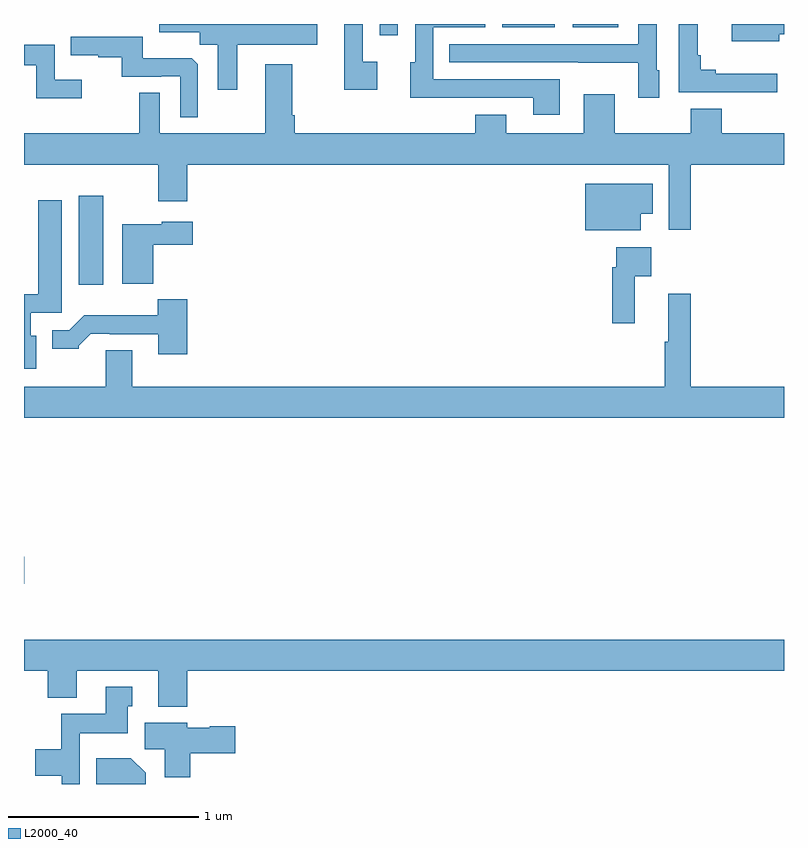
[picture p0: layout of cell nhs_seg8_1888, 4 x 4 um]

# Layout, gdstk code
import gdstk
lib = gdstk.Library(unit=1e-6, precision=1e-09)
def R(c, l, rs):  # rectangles x0, y0, x1, y1
    for r in rs: c.add(gdstk.rectangle(r[:2], r[2:], *l))
def P(c, l, *ps):  # polygons
    for p in ps: c.add(gdstk.Polygon(p, *l))
L2000_40 = (2000, 40)

nhs_seg8_1888 = lib.new_cell('nhs_seg8_1888')
R(nhs_seg8_1888, L2000_40, [(231,1120.954,231.001,1121.096), (231.287,1122.528,231.418,1122.997), (232.872,1123.842,232.968,1123.9), (233.516,1123.883,233.794,1123.9), (233.888,1123.883,234.127,1123.9)])
P(nhs_seg8_1888, L2000_40, [(234.976,1123.847),(235,1123.847),(235,1123.9),(234.725,1123.9),(234.725,1123.808),(234.976,1123.808)],
  [(234.343,1123.656),(234.33,1123.656),(234.33,1123.9),(234.234,1123.9),(234.234,1123.794),(233.239,1123.794),(233.239,1123.698),(233.917,1123.698),(233.917,1123.697),(234.234,1123.697),(234.234,1123.512),(234.343,1123.512)],
  [(234.964,1123.639),(234.64,1123.639),(234.64,1123.658),(234.563,1123.658),(234.563,1123.735),(234.545,1123.735),(234.545,1123.9),(234.447,1123.9),(234.447,1123.542),(234.964,1123.542)],
  [(232.123,1123.79),(232.543,1123.79),(232.543,1123.9),(231.713,1123.9),(231.713,1123.856),(231.924,1123.856),(231.924,1123.792),(232.019,1123.792),(232.019,1123.554),(232.123,1123.554)],
  [(233.821,1123.608),(233.154,1123.608),(233.154,1123.884),(233.427,1123.884),(233.427,1123.9),(233.058,1123.9),(233.058,1123.698),(233.033,1123.698),(233.033,1123.511),(233.251,1123.511),(233.251,1123.512),(233.681,1123.512),(233.681,1123.422),(233.821,1123.422)],
  [(232.858,1123.702),(232.782,1123.702),(232.782,1123.9),(232.685,1123.9),(232.685,1123.554),(232.858,1123.554)],
  [(231.915,1123.689),(231.883,1123.721),(231.625,1123.721),(231.625,1123.833),(231.247,1123.833),(231.247,1123.736),(231.391,1123.736),(231.391,1123.725),(231.515,1123.725),(231.515,1123.623),(231.722,1123.623),(231.722,1123.626),(231.822,1123.626),(231.822,1123.409),(231.915,1123.409)],
  [(231.304,1123.606),(231.162,1123.606),(231.162,1123.791),(231,1123.791),(231,1123.683),(231.064,1123.683),(231.064,1123.508),(231.304,1123.508)],
  [(234.509,1123.16),(235,1123.16),(235,1123.324),(234.673,1123.324),(234.673,1123.453),(234.509,1123.453),(234.509,1123.324),(234.109,1123.324),(234.109,1123.531),(233.945,1123.531),(233.945,1123.324),(233.539,1123.324),(233.539,1123.423),(233.375,1123.423),(233.375,1123.324),(232.424,1123.324),(232.424,1123.42),(232.411,1123.42),(232.411,1123.687),(232.271,1123.687),(232.271,1123.324),(231.714,1123.324),(231.714,1123.538),(231.606,1123.538),(231.606,1123.324),(231,1123.324),(231,1123.16),(231.707,1123.16),(231.707,1122.966),(231.86,1122.966),(231.86,1123.16),(234.393,1123.16),(234.393,1122.816),(234.509,1122.816)],
  [(234.247,1122.902),(234.308,1122.902),(234.308,1123.06),(233.954,1123.06),(233.954,1122.815),(234.247,1122.815)],
  [(231.064,1122.258),(231.036,1122.258),(231.036,1122.381),(231.199,1122.381),(231.199,1122.973),(231.074,1122.973),(231.074,1122.478),(231,1122.478),(231,1122.086),(231.064,1122.086)],
  [(231.68,1122.737),(231.889,1122.737),(231.889,1122.859),(231.726,1122.859),(231.726,1122.847),(231.518,1122.847),(231.518,1122.533),(231.68,1122.533)],
  [(234.215,1122.572),(234.301,1122.572),(234.301,1122.724),(234.117,1122.724),(234.117,1122.62),(234.097,1122.62),(234.097,1122.324),(234.215,1122.324)],
  [(235,1121.992),(234.509,1121.992),(234.509,1122.481),(234.392,1122.481),(234.392,1122.228),(234.373,1122.228),(234.373,1121.992),(231.571,1121.992),(231.571,1122.182),(231.431,1122.182),(231.431,1121.992),(231,1121.992),(231,1121.828),(235,1121.828)],
  [(231.86,1122.451),(231.705,1122.451),(231.705,1122.367),(231.316,1122.367),(231.237,1122.288),(231.149,1122.288),(231.149,1122.191),(231.288,1122.191),(231.288,1122.206),(231.352,1122.27),(231.451,1122.27),(231.451,1122.267),(231.707,1122.267),(231.707,1122.162),(231.86,1122.162)],
  [(231.86,1120.496),(235,1120.496),(235,1120.66),(231,1120.66),(231,1120.496),(231.125,1120.496),(231.125,1120.355),(231.277,1120.355),(231.277,1120.496),(231.707,1120.496),(231.707,1120.307),(231.86,1120.307)],
  [(231.294,1120.166),(231.547,1120.166),(231.547,1120.308),(231.571,1120.308),(231.571,1120.411),(231.431,1120.411),(231.431,1120.27),(231.196,1120.27),(231.196,1120.084),(231.059,1120.084),(231.059,1119.944),(231.198,1119.944),(231.198,1119.9),(231.294,1119.9)],
  [(231.875,1120.061),(232.111,1120.061),(232.111,1120.203),(231.978,1120.203),(231.978,1120.195),(231.858,1120.195),(231.858,1120.222),(231.635,1120.222),(231.635,1120.084),(231.74,1120.084),(231.74,1119.936),(231.875,1119.936)],
  [(231.64,1119.958),(231.562,1120.036),(231.379,1120.036),(231.379,1119.9),(231.64,1119.9)])

lib.write_gds('nhs_seg8_1888.gds')
